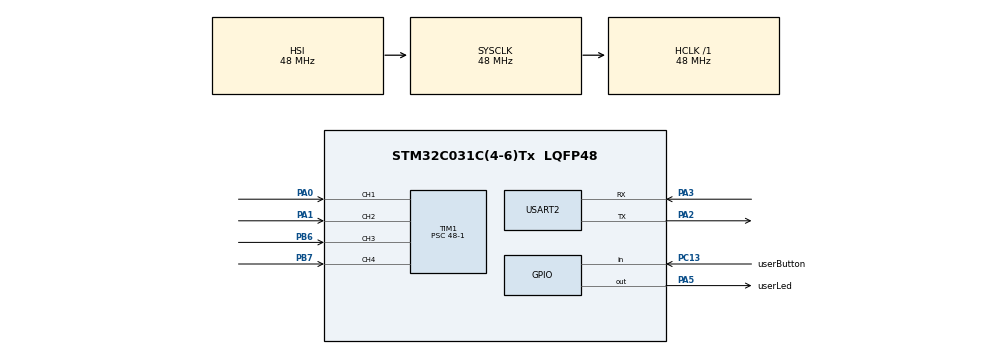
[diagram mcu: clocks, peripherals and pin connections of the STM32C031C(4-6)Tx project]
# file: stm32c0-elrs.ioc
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Mcu.Family=STM32C0
Mcu.Name=STM32C031C(4-6)Tx
Mcu.Package=LQFP48
NVIC.TIM1_BRK_UP_TRG_COM_IRQn=true\:1\:0\:true\:false\:true\:true\:true\:true
NVIC.TIM1_CC_IRQn=true\:1\:0\:true\:false\:true\:true\:true\:true
PA0.Signal=S_TIM1_CH1
PA1.Signal=S_TIM1_CH2
PA13.Mode=Serial_Wire
PA13.Signal=DEBUG_SWDIO
PA14-BOOT0.Mode=Serial_Wire
PA14-BOOT0.Signal=DEBUG_SWCLK
PA2.Mode=Asynchronous
PA2.Signal=USART2_TX
PA3.Mode=Asynchronous
PA3.Signal=USART2_RX
PA5.GPIO_Label=userLed
PA5.Signal=GPIO_Output
PB6.Signal=S_TIM1_CH3
PB7.Signal=S_TIM1_CH4
PC13.GPIO_Label=userButton
PC13.Signal=GPIO_Input
ProjectManager.HeapSize=0x200
ProjectManager.StackSize=0x400
ProjectManager.TargetToolchain=Makefile
RCC.ADCFreq_Value=48000000
RCC.AHBFreq_Value=48000000
RCC.CortexFreq_Value=48000000
RCC.EXTERNAL_CLOCK_VALUE=12288000
RCC.HCLKFreq_Value=48000000
RCC.HSE_VALUE=8000000
RCC.HSISYSCLKDivider=RCC_HSI_DIV1
RCC.HSI_VALUE=48000000
RCC.LSE_VALUE=32768
RCC.SYSCLKFreq_VALUE=48000000
SH.S_TIM1_CH1.0=TIM1_CH1,Input_Capture1_from_TI1
SH.S_TIM1_CH2.0=TIM1_CH2,Input_Capture2_from_TI2
SH.S_TIM1_CH3.0=TIM1_CH3,Input_Capture3_from_TI3
SH.S_TIM1_CH4.0=TIM1_CH4,Input_Capture4_from_TI4
TIM1.Channel-Input_Capture1_from_TI1=TIM_CHANNEL_1
TIM1.Channel-Input_Capture2_from_TI2=TIM_CHANNEL_2
TIM1.Channel-Input_Capture3_from_TI3=TIM_CHANNEL_3
TIM1.Channel-Input_Capture4_from_TI4=TIM_CHANNEL_4
TIM1.ICFilter_CH1=0
TIM1.ICFilter_CH2=0
TIM1.ICFilter_CH3=0
TIM1.ICFilter_CH4=0
TIM1.ICPolarity_CH1=TIM_INPUTCHANNELPOLARITY_BOTHEDGE
TIM1.ICPolarity_CH2=TIM_INPUTCHANNELPOLARITY_BOTHEDGE
TIM1.ICPolarity_CH3=TIM_INPUTCHANNELPOLARITY_BOTHEDGE
TIM1.ICPolarity_CH4=TIM_INPUTCHANNELPOLARITY_BOTHEDGE
TIM1.Prescaler=48-1
USART2.VirtualMode-Asynchronous=VM_ASYNC
VP_TIM1_VS_ClockSourceINT.Mode=Internal
board=custom

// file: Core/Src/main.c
/* USER CODE BEGIN Header */
/**
  ******************************************************************************
  * @file           : main.c
  * @brief          : Main program body
  ******************************************************************************
  * @attention
  *
  * Copyright (c) 2026 STMicroelectronics.
  * All rights reserved.
  *
  * This software is licensed under terms that can be found in the LICENSE file
  * in the root directory of this software component.
  * If no LICENSE file comes with this software, it is provided AS-IS.
  *
  ******************************************************************************
  */
/* USER CODE END Header */
#include "main.h"
#include "tim.h"
#include "usart.h"
#include "gpio.h"

/* USER CODE BEGIN Includes */

#include <stdio.h>

/* USER CODE END Includes */

void SystemClock_Config(void);

/* USER CODE BEGIN 0 */

int __io_putchar(int ch){
  if(ch == '\n'){
    uint8_t ch2 = '\r';
    HAL_UART_Transmit(&huart2, &ch2, 1, HAL_MAX_DELAY);
  }
  HAL_UART_Transmit(&huart2, (uint8_t*)&ch, 1, HAL_MAX_DELAY);
  return 0;
}

uint8_t userButtonPressed(){
  if(HAL_GPIO_ReadPin(userButton_GPIO_Port, userButton_Pin) == GPIO_PIN_RESET)
    return 1;
  else
    return 0;
}

volatile uint16_t capturedValue[4];
volatile uint16_t capturedValueOld[4];
volatile uint16_t predPulseValue[4];
volatile uint16_t pulseValue[4];

void updateChannel(uint8_t ch, uint16_t pulse){
  capturedValueOld[ch] = capturedValue[ch];
  capturedValue[ch] = pulse;
  predPulseValue[ch] = (uint16_t)(capturedValue[ch] - capturedValueOld[ch]);
  if (predPulseValue[ch] < 3000) pulseValue[ch] = predPulseValue[ch];
}

void HAL_TIM_IC_CaptureCallback(TIM_HandleTypeDef *htim){
  if (htim == &htim1){
    uint16_t pulse;
    switch (HAL_TIM_GetActiveChannel(&htim1)){
      case HAL_TIM_ACTIVE_CHANNEL_1:
        pulse = HAL_TIM_ReadCapturedValue(&htim1, TIM_CHANNEL_1);
        updateChannel(0, pulse);
        break;
      case HAL_TIM_ACTIVE_CHANNEL_2:
        pulse = HAL_TIM_ReadCapturedValue(&htim1, TIM_CHANNEL_2);
        updateChannel(1, pulse);
        break;
      case HAL_TIM_ACTIVE_CHANNEL_3:
        pulse = HAL_TIM_ReadCapturedValue(&htim1, TIM_CHANNEL_3);
        updateChannel(2, pulse);
        break;
      case HAL_TIM_ACTIVE_CHANNEL_4:
        pulse = HAL_TIM_ReadCapturedValue(&htim1, TIM_CHANNEL_4);
        updateChannel(3, pulse);
        break;
      default:
        break;
    }
  }
}

/* USER CODE END 0 */

int main(void)
{

  /* MCU Configuration--------------------------------------------------------*/

  /* Reset of all peripherals, Initializes the Flash interface and the Systick. */
  HAL_Init();

  /* Configure the system clock */
  SystemClock_Config();

  /* Initialize all configured peripherals */
  MX_GPIO_Init();
  MX_USART2_UART_Init();
  MX_TIM1_Init();
  /* USER CODE BEGIN 2 */

  HAL_TIM_Base_Start(&htim1);
  HAL_TIM_IC_Start_IT(&htim1, TIM_CHANNEL_1);
  HAL_TIM_IC_Start_IT(&htim1, TIM_CHANNEL_2);
  HAL_TIM_IC_Start_IT(&htim1, TIM_CHANNEL_3);
  HAL_TIM_IC_Start_IT(&htim1, TIM_CHANNEL_4);

  /* USER CODE END 2 */

  /* Infinite loop */
  /* USER CODE BEGIN WHILE */
  while (1)
  {

  for (uint8_t i=0; i<4; i++){
    printf(">ch%u:%u\n", i+1, pulseValue[i]);
  }

  HAL_Delay(20);

    /* USER CODE END WHILE */

  }
}

void SystemClock_Config(void)
{
  RCC_OscInitTypeDef RCC_OscInitStruct = {0};
  RCC_ClkInitTypeDef RCC_ClkInitStruct = {0};

  __HAL_FLASH_SET_LATENCY(FLASH_LATENCY_1);

  /** Initializes the RCC Oscillators according to the specified parameters
  * in the RCC_OscInitTypeDef structure.
  */
  RCC_OscInitStruct.OscillatorType = RCC_OSCILLATORTYPE_HSI;
  RCC_OscInitStruct.HSIState = RCC_HSI_ON;
  RCC_OscInitStruct.HSIDiv = RCC_HSI_DIV1;
  RCC_OscInitStruct.HSICalibrationValue = RCC_HSICALIBRATION_DEFAULT;
  if (HAL_RCC_OscConfig(&RCC_OscInitStruct) != HAL_OK)
  {
    Error_Handler();
  }

  /** Initializes the CPU, AHB and APB buses clocks
  */
  RCC_ClkInitStruct.ClockType = RCC_CLOCKTYPE_HCLK|RCC_CLOCKTYPE_SYSCLK
                              |RCC_CLOCKTYPE_PCLK1;
  RCC_ClkInitStruct.SYSCLKSource = RCC_SYSCLKSOURCE_HSI;
  RCC_ClkInitStruct.SYSCLKDivider = RCC_SYSCLK_DIV1;
  RCC_ClkInitStruct.AHBCLKDivider = RCC_HCLK_DIV1;
  RCC_ClkInitStruct.APB1CLKDivider = RCC_APB1_DIV1;

  if (HAL_RCC_ClockConfig(&RCC_ClkInitStruct, FLASH_LATENCY_1) != HAL_OK)
  {
    Error_Handler();
  }
}

void Error_Handler(void)
{
  __disable_irq();
  while (1)
  {
  }
}
